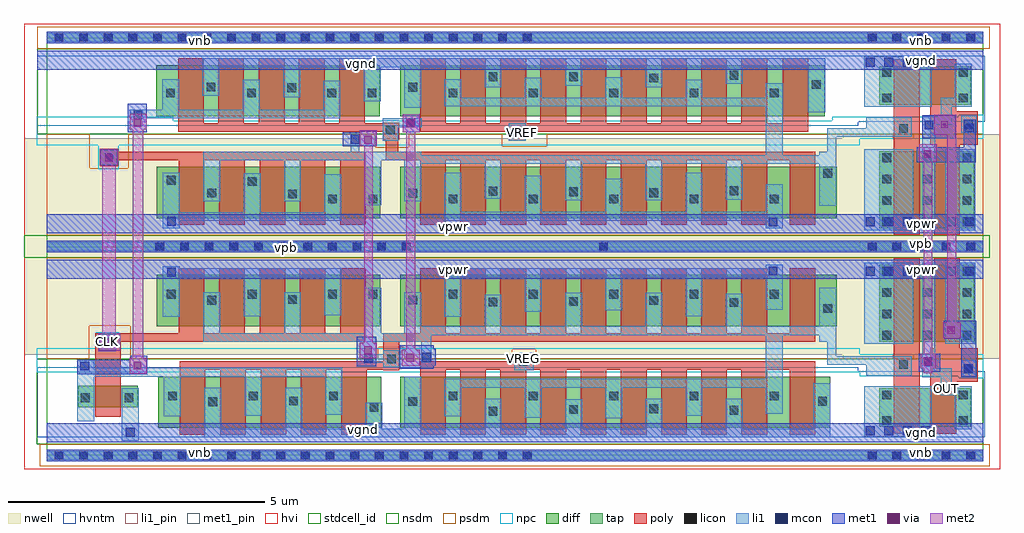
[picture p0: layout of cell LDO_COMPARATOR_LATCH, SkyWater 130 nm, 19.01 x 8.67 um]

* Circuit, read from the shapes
.subckt LDO_COMPARATOR_LATCH CLK OUT VREF VREG vgnd vnb vpb vpwr
XM1 vgnd CLK n1 vnb sky130_fd_pr__nfet_g5v0d10v5 w=0.42 l=0.5
XM2 n2 n3 n1 vnb sky130_fd_pr__nfet_g5v0d10v5 w=1 l=0.5 m=5
XM3 n4 n5 n1 vnb sky130_fd_pr__nfet_g5v0d10v5 w=1 l=0.5 m=5
XM4 n3 VREG n4 vnb sky130_fd_pr__nfet_g5v0d10v5 w=1 l=0.5 m=10
XM5 n5 VREF n2 vnb sky130_fd_pr__nfet_g5v0d10v5 w=1 l=0.5 m=10
XM6 n6 n3 vgnd vnb sky130_fd_pr__nfet_g5v0d10v5 w=0.75 l=0.5
XM7 n7 n5 vgnd vnb sky130_fd_pr__nfet_g5v0d10v5 w=0.75 l=0.5
XM8 OUT n8 n6 vnb sky130_fd_pr__nfet_g5v0d10v5 w=0.75 l=0.5
XM9 n8 OUT n7 vnb sky130_fd_pr__nfet_g5v0d10v5 w=0.75 l=0.5
XM10 n3 CLK vpwr vpb sky130_fd_pr__pfet_g5v0d10v5 w=1 l=0.5 m=5
XM11 n5 CLK vpwr vpb sky130_fd_pr__pfet_g5v0d10v5 w=1 l=0.5 m=5
XM12 vpwr n5 n3 vpb sky130_fd_pr__pfet_g5v0d10v5 w=1 l=0.5 m=10
XM13 vpwr n3 n5 vpb sky130_fd_pr__pfet_g5v0d10v5 w=1 l=0.5 m=10
XM14 OUT n3 vpwr vpb sky130_fd_pr__pfet_g5v0d10v5 w=1.5 l=0.5
XM15 n8 n5 vpwr vpb sky130_fd_pr__pfet_g5v0d10v5 w=1.5 l=0.5
XM16 vpwr n8 OUT vpb sky130_fd_pr__pfet_g5v0d10v5 w=1.5 l=0.5
XM17 vpwr OUT n8 vpb sky130_fd_pr__pfet_g5v0d10v5 w=1.5 l=0.5
.ends

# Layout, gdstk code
import gdstk
lib = gdstk.Library(unit=1e-6, precision=1e-09)
def R(c, l, rs):  # rectangles x0, y0, x1, y1
    for r in rs: c.add(gdstk.rectangle(r[:2], r[2:], *l))
def A(c, l, x, y, w, h, nx, ny, dx, dy):  # array of equal rectangles
    R(c, l, [(x+i*dx, y+j*dy, x+i*dx+w, y+j*dy+h) for i in range(nx) for j in range(ny)])
def P(c, l, *ps):  # polygons
    for p in ps: c.add(gdstk.Polygon(p, *l))
nwell = (64, 20)
diff = (65, 20)
tap = (65, 44)
poly = (66, 20)
licon = (66, 44)
li1_pin = (67, 16)
li1 = (67, 20)
mcon = (67, 44)
met1_pin = (68, 16)
met1 = (68, 20)
via = (68, 44)
met2 = (69, 20)
hvi = (75, 20)
stdcell_id = (81, 4)
nsdm = (93, 44)
psdm = (94, 20)
npc = (95, 20)
hvntm = (125, 20)

ldo_comparator_latch = lib.new_cell('LDO_COMPARATOR_LATCH')
R(ldo_comparator_latch, nwell, [(15.51,1.885,18.57,4.485), (-0.44,1.965,15.51,6.175), (15.51,3.655,18.57,6.255)])
R(ldo_comparator_latch, diff, [(2.17,0.535,6.52,1.535), (6.89,0.535,15.26,1.535), (16.22,0.555,18,1.305), (0.615,0.935,1.78,1.355), (16.22,2.215,18.07,3.715), (2.15,2.515,6.5,3.515), (6.89,2.515,15.39,3.515), (16.22,4.425,18.07,5.925), (2.15,4.62,6.5,5.62), (6.89,4.62,15.39,5.62), (2.135,6.605,6.485,7.605), (6.89,6.605,15.16,7.605), (16.22,6.835,18,7.585)])
A(ldo_comparator_latch, tap, 0, -0.085, 15.84, 0.17, 1, 3, 0, 4.07)
R(ldo_comparator_latch, tap, [(15.84,-0.085,18.24,0.085), (15.84,3.985,18.24,4.155), (15.84,3.985,18.24,4.155), (15.84,8.055,18.24,8.225)])
R(ldo_comparator_latch, poly, [(2.595,0.405,3.095,1.665), (3.38,0.405,3.88,1.665), (4.17,0.405,4.67,1.665), (4.95,0.405,5.45,1.665), (5.735,0.405,6.235,1.665), (7.275,0.405,7.775,1.665), (8.055,0.405,8.555,1.665), (8.84,0.405,9.34,1.665), (9.62,0.405,10.12,1.665), (10.405,0.405,10.905,1.665), (11.185,0.405,11.685,1.665), (11.97,0.405,12.47,1.665), (12.75,0.405,13.25,1.665), (13.535,0.405,14.035,1.665), (14.47,0.405,14.97,1.665), (16.505,0.425,17.005,3.845), (0.945,0.755,1.445,2.385), (6.555,1.655,6.87,2.215), (2.595,1.665,6.87,1.835), (7.275,1.665,14.97,1.835), (9.11,1.755,9.49,2.005), (1.04,2.07,1.36,2.215), (1.06,2.085,1.325,2.325), (1.445,2.215,6.215,2.385), (6.555,2.215,14.97,2.385), (2.575,2.385,3.075,3.645), (3.36,2.385,3.86,3.645), (4.15,2.385,4.65,3.645), (4.93,2.385,5.43,3.645), (5.715,2.385,6.215,3.645), (7.275,2.385,7.775,3.645), (8.055,2.385,8.555,3.645), (8.84,2.385,9.34,3.645), (9.62,2.385,10.12,3.645), (10.405,2.385,10.905,3.645), (11.185,2.385,11.685,3.645), (11.97,2.385,12.47,3.645), (12.75,2.385,13.25,3.645), (13.535,2.385,14.035,3.645), (14.47,2.385,14.97,3.645), (16.505,4.295,17.005,7.715), (2.575,4.49,3.075,5.75), (3.36,4.49,3.86,5.75), (4.15,4.49,4.65,5.75), (4.93,4.49,5.43,5.75), (5.715,4.49,6.215,5.75), (7.275,4.49,7.775,5.75), (8.055,4.49,8.555,5.75), (8.84,4.49,9.34,5.75), (9.62,4.49,10.12,5.75), (10.405,4.49,10.905,5.75), (11.185,4.49,11.685,5.75), (11.97,4.49,12.47,5.75), (12.75,4.49,13.25,5.75), (13.535,4.49,14.035,5.75), (14.47,4.49,14.97,5.75), (1.045,5.635,1.4,5.97), (1.045,5.75,6.215,5.92), (6.605,5.75,14.97,5.92), (6.605,5.92,6.845,6.48), (9.005,6.13,9.335,6.475), (9.035,6.13,9.31,6.405), (6.555,6.15,6.605,6.48), (6.845,6.15,6.865,6.48), (2.56,6.305,6.845,6.475), (7.275,6.305,14.84,6.475), (2.56,6.475,3.06,7.735), (3.345,6.475,3.845,7.735), (4.135,6.475,4.635,7.735), (4.915,6.475,5.415,7.735), (5.7,6.475,6.2,7.735), (7.275,6.475,7.775,7.735), (8.055,6.475,8.555,7.735), (8.84,6.475,9.34,7.735), (9.62,6.475,10.12,7.735), (10.405,6.475,10.905,7.735), (11.185,6.475,11.685,7.735), (11.97,6.475,12.47,7.735), (12.75,6.475,13.25,7.735), (13.535,6.475,14.035,7.735), (14.34,6.475,14.84,7.735)])
P(ldo_comparator_latch, poly, [(18.135,6.055),(17.785,6.055),(17.785,4.295),(17.285,4.295),(17.285,6.055),(17.215,6.055),(17.215,7.715),(17.715,7.715),(17.715,6.705),(18.135,6.705)],
  [(18.135,2.085),(17.785,2.085),(17.785,3.845),(17.285,3.845),(17.285,2.085),(17.215,2.085),(17.215,0.425),(17.715,0.425),(17.715,1.435),(18.135,1.435)])
A(ldo_comparator_latch, licon, 0.155, -0.085, 0.17, 0.17, 20, 2, 0.48, 8.14)
A(ldo_comparator_latch, licon, 15.995, -0.085, 0.17, 0.17, 5, 2, 0.48, 8.14)
A(ldo_comparator_latch, licon, 7.83, 1.075, 0.17, 0.17, 5, 2, 1.565, 1.98)
A(ldo_comparator_latch, licon, 16.28, 2.255, 0.17, 0.17, 3, 2, 0.78, 0.415)
A(ldo_comparator_latch, licon, 16.28, 3.09, 0.17, 0.17, 3, 2, 0.78, 0.415)
A(ldo_comparator_latch, licon, 2.12, 3.985, 0.17, 0.17, 11, 1, 0.48, 0)
A(ldo_comparator_latch, licon, 16.28, 4.465, 0.17, 0.17, 3, 2, 0.78, 0.415)
A(ldo_comparator_latch, licon, 7.83, 4.91, 0.17, 0.17, 5, 2, 1.565, 2.065)
A(ldo_comparator_latch, licon, 16.28, 5.3, 0.17, 0.17, 3, 2, 0.78, 0.415)
R(ldo_comparator_latch, licon, [(16.28,0.595,16.45,0.765), (17.77,0.595,17.94,0.765), (8.61,0.775,8.78,0.945), (13.305,0.795,13.475,0.965), (10.18,0.81,10.35,0.98), (11.74,0.825,11.91,0.995), (6.29,0.855,6.46,1.025), (3.15,0.96,3.32,1.13), (7.045,0.965,7.215,1.135), (15.03,0.97,15.2,1.14), (4.725,0.975,4.895,1.145), (0.67,1.04,0.84,1.21), (1.52,1.04,1.69,1.21), (2.365,1.075,2.535,1.245), (3.94,1.075,4.11,1.245), (5.505,1.075,5.675,1.245), (16.28,1.095,16.45,1.265), (17.77,1.095,17.94,1.265), (17.865,1.605,18.035,1.775), (16.605,1.685,16.775,1.855), (9.205,1.75,9.375,1.92), (6.635,1.795,6.805,1.965), (1.105,2.125,1.275,2.295), (1.105,2.125,1.275,2.295), (15.13,2.78,15.3,2.95), (13.305,2.895,13.475,3.065), (8.61,2.905,8.78,3.075), (10.18,2.915,10.35,3.085), (11.74,2.935,11.91,3.105), (3.13,2.94,3.3,3.11), (7.045,2.945,7.215,3.115), (4.705,2.955,4.875,3.125), (2.345,3.055,2.515,3.225), (3.92,3.055,4.09,3.225), (5.485,3.055,5.655,3.225), (6.27,3.055,6.44,3.225), (10.76,3.985,10.93,4.155), (15.995,3.985,16.165,4.155), (15.995,3.985,16.165,4.155), (16.475,3.985,16.645,4.155), (16.475,3.985,16.645,4.155), (16.955,3.985,17.125,4.155), (16.955,3.985,17.125,4.155), (17.435,3.985,17.605,4.155), (17.435,3.985,17.605,4.155), (17.915,3.985,18.085,4.155), (17.915,3.985,18.085,4.155), (5.485,4.91,5.655,5.08), (6.27,4.91,6.44,5.08), (4.705,5.01,4.875,5.18), (7.045,5.02,7.215,5.19), (3.13,5.025,3.3,5.195), (11.74,5.03,11.91,5.2), (10.18,5.05,10.35,5.22), (8.61,5.06,8.78,5.23), (13.305,5.07,13.475,5.24), (3.92,5.25,4.09,5.42), (2.345,5.275,2.515,5.445), (15.13,5.41,15.3,5.58), (1.13,5.72,1.3,5.89), (9.085,6.235,9.255,6.405), (6.61,6.255,6.78,6.425), (16.605,6.285,16.775,6.455), (17.865,6.365,18.035,6.535), (16.28,6.875,16.45,7.045), (17.77,6.875,17.94,7.045), (2.33,6.975,2.5,7.145), (3.905,6.975,4.075,7.145), (5.47,6.975,5.64,7.145), (6.255,6.975,6.425,7.145), (4.69,7.075,4.86,7.245), (7.045,7.085,7.215,7.255), (3.115,7.09,3.285,7.26), (14.905,7.14,15.075,7.31), (11.74,7.265,11.91,7.435), (8.61,7.29,8.78,7.46), (10.18,7.29,10.35,7.46), (13.305,7.32,13.475,7.49), (16.28,7.375,16.45,7.545), (17.77,7.375,17.94,7.545)])
R(ldo_comparator_latch, li1_pin, [(17.435,1.21,17.605,1.38), (17.44,1.21,17.605,1.38), (9.205,1.75,9.375,1.92), (1.1,2.135,1.275,2.295), (9.085,6.235,9.255,6.405)])
A(ldo_comparator_latch, li1, 0, -0.085, 15.84, 0.17, 1, 3, 0, 4.07)
R(ldo_comparator_latch, li1, [(15.84,-0.085,18.24,0.085), (1.465,0.285,1.795,1.31), (3.07,0.355,3.4,1.32), (3.4,0.355,6.21,0.525), (4.645,0.355,4.975,1.32), (5.755,0.355,6.965,0.525), (6.21,0.355,6.54,1.025), (6.965,0.355,7.295,1.535), (7.295,0.355,15.05,0.525), (8.53,0.355,8.86,1.105), (10.1,0.355,10.43,1.095), (11.66,0.355,11.99,1.105), (13.23,0.355,13.56,1.1), (14.935,0.355,15.265,1.41), (15.93,0.365,17.24,1.345), (0.595,0.665,0.925,1.86), (10.88,0.72,11.21,1.455), (9.315,0.73,9.645,1.49), (2.285,0.765,2.615,1.705), (7.75,0.765,8.08,1.49), (12.445,0.77,12.775,1.49), (3.86,0.775,4.19,1.705), (5.425,0.795,5.755,1.705), (14.01,0.815,14.34,2.345), (8.08,1.32,14.01,1.49), (17.815,1.525,18.115,1.855), (0.595,1.535,5.755,1.705), (15.965,1.55,16.855,1.935), (9.11,1.66,9.49,2.005), (6.555,1.715,6.88,2.045), (15.21,1.765,15.38,2.215), (15.38,1.765,15.965,1.935), (6.185,1.805,6.86,1.975), (7.295,1.82,7.49,2.345), (1.03,2.045,1.36,2.385), (15.93,2.175,16.88,3.755), (17.5,2.175,18.09,3.755), (3.05,2.215,3.38,3.18), (3.38,2.215,6.965,2.385), (4.625,2.215,4.955,3.18), (6.19,2.215,6.52,3.265), (6.965,2.215,7.295,3.18), (15.05,2.215,15.38,3.27), (7.295,2.345,15.05,2.515), (8.53,2.345,8.86,3.135), (10.1,2.345,10.43,3.165), (11.66,2.345,11.99,3.165), (13.23,2.345,13.56,3.15), (2.265,2.705,2.595,3.685), (7.75,2.705,8.08,3.645), (12.445,2.71,12.775,3.645), (3.84,2.715,4.17,3.645), (5.405,2.735,5.735,3.645), (9.315,2.8,9.645,3.645), (10.88,2.825,11.21,3.64), (14.01,2.84,14.34,3.715), (2.595,3.475,5.405,3.645), (8.08,3.475,14.01,3.645), (15.84,3.985,18.24,4.155), (15.84,3.985,18.24,4.155), (15.93,4.385,16.88,5.965), (17.5,4.385,18.09,5.965), (2.265,4.425,2.595,5.51), (14.01,4.425,14.34,5.28), (2.595,4.57,5.405,4.74), (3.84,4.57,4.17,5.5), (5.405,4.57,5.735,5.48), (9.315,4.57,9.645,5.45), (12.445,4.57,12.775,5.505), (7.75,4.575,8.08,5.51), (8.08,4.575,14.01,4.745), (10.88,4.575,11.21,5.39), (15.05,4.865,15.38,5.92), (6.19,4.87,6.52,5.92), (3.05,4.955,3.38,5.92), (4.625,4.955,4.955,5.92), (6.965,4.955,7.295,5.92), (10.1,4.97,10.43,5.85), (11.66,4.97,11.99,5.85), (13.23,4.985,13.56,5.85), (8.53,5,8.86,5.85), (1.035,5.65,1.39,5.975), (7.295,5.68,15.05,5.85), (3.38,5.75,6.965,5.92), (14.01,5.845,14.34,7.245), (5.92,5.92,6.09,6.245), (15.21,5.92,15.38,6.375), (6.545,6.125,6.845,6.495), (9.005,6.13,9.335,6.475), (15.38,6.205,15.965,6.375), (15.965,6.205,16.855,6.59), (17.815,6.285,18.115,6.615), (6.545,6.395,7.31,6.565), (1.615,6.49,1.95,6.565), (1.615,6.565,5.39,6.735), (2.25,6.565,2.58,7.325), (3.825,6.565,4.155,7.315), (5.39,6.565,5.72,7.295), (14.84,6.68,15.17,7.735), (6.965,6.77,7.295,7.735), (15.93,6.795,17.24,7.775), (7.75,6.8,14.34,6.97), (7.75,6.8,8.08,7.325), (9.315,6.8,9.645,7.36), (10.88,6.8,11.21,7.37), (12.445,6.8,12.775,7.32), (6.175,6.895,6.505,7.735), (4.61,6.975,4.94,7.735), (3.035,7.01,3.365,7.735), (8.53,7.17,8.86,7.735), (11.66,7.175,11.99,7.735), (10.1,7.205,10.43,7.735), (13.23,7.24,13.56,7.735), (3.365,7.565,15.05,7.735), (15.84,8.055,18.24,8.225)])
P(ldo_comparator_latch, li1, [(18.02,6.795),(17.635,6.795),(17.635,6.445),(17.31,6.445),(17.31,4.385),(17.06,4.385),(17.06,6.615),(17.42,6.615),(17.42,6.965),(17.69,6.965),(17.69,7.625),(18.02,7.625)],
  [(18.02,1.345),(17.635,1.345),(17.635,1.695),(17.31,1.695),(17.31,3.755),(17.06,3.755),(17.06,1.525),(17.42,1.525),(17.42,1.175),(17.69,1.175),(17.69,0.515),(18.02,0.515)])
A(ldo_comparator_latch, mcon, 15.96, 0.395, 0.17, 0.17, 4, 2, 0.36, 7.18)
A(ldo_comparator_latch, mcon, 15.96, 3.505, 0.17, 0.17, 3, 2, 0.36, 0.96)
R(ldo_comparator_latch, mcon, [(0.155,-0.085,0.325,0.085), (0.155,-0.085,0.325,0.085), (0.635,-0.085,0.805,0.085), (0.635,-0.085,0.805,0.085), (1.115,-0.085,1.285,0.085), (1.115,-0.085,1.285,0.085), (1.595,-0.085,1.765,0.085), (1.595,-0.085,1.765,0.085), (2.075,-0.085,2.245,0.085), (2.075,-0.085,2.245,0.085), (2.555,-0.085,2.725,0.085), (2.555,-0.085,2.725,0.085), (3.035,-0.085,3.205,0.085), (3.035,-0.085,3.205,0.085), (3.515,-0.085,3.685,0.085), (3.515,-0.085,3.685,0.085), (3.995,-0.085,4.165,0.085), (3.995,-0.085,4.165,0.085), (4.475,-0.085,4.645,0.085), (4.475,-0.085,4.645,0.085), (4.955,-0.085,5.125,0.085), (4.955,-0.085,5.125,0.085), (5.435,-0.085,5.605,0.085), (5.435,-0.085,5.605,0.085), (5.915,-0.085,6.085,0.085), (5.915,-0.085,6.085,0.085), (6.395,-0.085,6.565,0.085), (6.395,-0.085,6.565,0.085), (6.875,-0.085,7.045,0.085), (6.875,-0.085,7.045,0.085), (7.355,-0.085,7.525,0.085), (7.355,-0.085,7.525,0.085), (7.835,-0.085,8.005,0.085), (7.835,-0.085,8.005,0.085), (8.315,-0.085,8.485,0.085), (8.315,-0.085,8.485,0.085), (8.795,-0.085,8.965,0.085), (8.795,-0.085,8.965,0.085), (9.275,-0.085,9.445,0.085), (9.275,-0.085,9.445,0.085), (15.995,-0.085,16.165,0.085), (15.995,-0.085,16.165,0.085), (16.475,-0.085,16.645,0.085), (16.475,-0.085,16.645,0.085), (16.955,-0.085,17.125,0.085), (16.955,-0.085,17.125,0.085), (17.435,-0.085,17.605,0.085), (17.435,-0.085,17.605,0.085), (17.915,-0.085,18.085,0.085), (17.915,-0.085,18.085,0.085), (1.545,0.365,1.715,0.535), (17.865,1.605,18.035,1.775), (0.66,1.655,0.83,1.825), (17.085,1.74,17.255,1.91), (6.185,1.805,6.355,1.975), (7.32,1.83,7.49,2), (1.105,2.125,1.275,2.295), (2.35,3.485,2.52,3.655), (17.53,3.505,17.7,3.675), (17.89,3.505,18.06,3.675), (14.065,3.51,14.235,3.68), (2.12,3.985,2.29,4.155), (2.12,3.985,2.29,4.155), (2.6,3.985,2.77,4.155), (2.6,3.985,2.77,4.155), (3.08,3.985,3.25,4.155), (3.08,3.985,3.25,4.155), (3.56,3.985,3.73,4.155), (3.56,3.985,3.73,4.155), (4.04,3.985,4.21,4.155), (4.04,3.985,4.21,4.155), (4.52,3.985,4.69,4.155), (4.52,3.985,4.69,4.155), (5,3.985,5.17,4.155), (5,3.985,5.17,4.155), (5.48,3.985,5.65,4.155), (5.48,3.985,5.65,4.155), (5.96,3.985,6.13,4.155), (5.96,3.985,6.13,4.155), (6.44,3.985,6.61,4.155), (6.44,3.985,6.61,4.155), (6.92,3.985,7.09,4.155), (6.92,3.985,7.09,4.155), (10.76,3.985,10.93,4.155), (10.76,3.985,10.93,4.155), (15.995,3.985,16.165,4.155), (15.995,3.985,16.165,4.155), (15.995,3.985,16.165,4.155), (15.995,3.985,16.165,4.155), (16.475,3.985,16.645,4.155), (16.475,3.985,16.645,4.155), (16.475,3.985,16.645,4.155), (16.475,3.985,16.645,4.155), (16.955,3.985,17.125,4.155), (16.955,3.985,17.125,4.155), (16.955,3.985,17.125,4.155), (16.955,3.985,17.125,4.155), (17.435,3.985,17.605,4.155), (17.435,3.985,17.605,4.155), (17.435,3.985,17.605,4.155), (17.435,3.985,17.605,4.155), (17.915,3.985,18.085,4.155), (17.915,3.985,18.085,4.155), (17.915,3.985,18.085,4.155), (17.915,3.985,18.085,4.155), (14.065,4.46,14.235,4.63), (17.53,4.465,17.7,4.635), (17.89,4.465,18.06,4.635), (2.35,4.475,2.52,4.645), (1.13,5.72,1.3,5.89), (5.92,6.075,6.09,6.245), (17.895,6.295,18.065,6.465), (17.1,6.35,17.27,6.52), (7.01,6.395,7.18,6.565), (1.695,6.545,1.865,6.715), (0.155,8.055,0.325,8.225), (0.155,8.055,0.325,8.225), (0.635,8.055,0.805,8.225), (0.635,8.055,0.805,8.225), (1.115,8.055,1.285,8.225), (1.115,8.055,1.285,8.225), (1.595,8.055,1.765,8.225), (1.595,8.055,1.765,8.225), (2.075,8.055,2.245,8.225), (2.075,8.055,2.245,8.225), (2.555,8.055,2.725,8.225), (2.555,8.055,2.725,8.225), (3.035,8.055,3.205,8.225), (3.035,8.055,3.205,8.225), (3.515,8.055,3.685,8.225), (3.515,8.055,3.685,8.225), (3.995,8.055,4.165,8.225), (3.995,8.055,4.165,8.225), (4.475,8.055,4.645,8.225), (4.475,8.055,4.645,8.225), (4.955,8.055,5.125,8.225), (4.955,8.055,5.125,8.225), (5.435,8.055,5.605,8.225), (5.435,8.055,5.605,8.225), (5.915,8.055,6.085,8.225), (5.915,8.055,6.085,8.225), (6.395,8.055,6.565,8.225), (6.395,8.055,6.565,8.225), (6.875,8.055,7.045,8.225), (6.875,8.055,7.045,8.225), (7.355,8.055,7.525,8.225), (7.355,8.055,7.525,8.225), (7.835,8.055,8.005,8.225), (7.835,8.055,8.005,8.225), (8.315,8.055,8.485,8.225), (8.315,8.055,8.485,8.225), (8.795,8.055,8.965,8.225), (8.795,8.055,8.965,8.225), (9.275,8.055,9.445,8.225), (9.275,8.055,9.445,8.225), (15.995,8.055,16.165,8.225), (15.995,8.055,16.165,8.225), (16.475,8.055,16.645,8.225), (16.475,8.055,16.645,8.225), (16.955,8.055,17.125,8.225), (16.955,8.055,17.125,8.225), (17.435,8.055,17.605,8.225), (17.435,8.055,17.605,8.225), (17.915,8.055,18.085,8.225), (17.915,8.055,18.085,8.225)])
R(ldo_comparator_latch, met1_pin, [(0,0,15.84,0.115), (15.84,0,18.24,0.115), (0,0.255,15.84,0.625), (15.84,0.255,18.24,0.625), (0,3.445,15.84,3.815), (15.84,3.445,18.24,3.815), (0,3.955,15.84,4.07), (15.84,3.955,18.24,4.07), (15.84,4.07,18.24,4.185), (0,4.325,15.835,4.695), (15.84,4.325,18.24,4.695), (-0.185,7.515,15.84,7.885), (15.84,7.515,18.24,7.885), (0,8.025,15.84,8.14), (15.84,8.025,18.24,8.14)])
A(ldo_comparator_latch, met1, 0, -0.115, 15.84, 0.23, 1, 3, 0, 4.07)
R(ldo_comparator_latch, met1, [(15.84,-0.115,18.24,0.115), (0,0.255,15.84,0.625), (15.84,0.255,18.24,0.625), (17.815,1.535,18.11,2.365), (0.595,1.58,1.96,1.86), (16.985,1.635,17.41,1.985), (6.875,1.685,7.54,2.145), (6.04,1.74,6.425,2.31), (7.265,1.745,7.575,2.08), (1.64,1.86,1.96,1.945), (1.01,2.03,1.35,2.36), (17.475,2.27,18.11,2.62), (0,3.445,15.84,3.815), (15.84,3.445,18.24,3.815), (15.84,3.955,18.24,4.185), (15.84,3.955,18.24,4.185), (0,4.325,15.84,4.695), (15.84,4.325,18.24,4.695), (1.045,5.65,1.365,5.955), (16.95,5.715,18.1,6.005), (17.865,5.965,18.1,6.535), (6.115,6.02,6.42,6.32), (5.765,6.025,6.355,6.3), (17.055,6.175,17.695,6.625), (17.11,6.285,17.395,6.615), (1.58,6.3,1.95,6.85), (6.935,6.3,7.27,6.65), (-0.185,7.515,15.84,7.885), (15.84,7.515,18.24,7.885), (15.84,8.025,18.24,8.255)])
R(ldo_comparator_latch, via, [(1.695,1.675,1.845,1.825), (17.085,1.755,17.235,1.905), (7.01,1.83,7.16,1.98), (6.185,1.975,6.335,2.125), (1.105,2.12,1.255,2.27), (17.545,2.365,17.695,2.515), (1.13,5.72,1.28,5.87), (17.085,5.795,17.235,5.945), (6.185,6.075,6.335,6.225), (17.415,6.37,17.565,6.52), (7.01,6.395,7.16,6.545), (1.695,6.405,1.845,6.555)])
R(ldo_comparator_latch, met2, [(1.615,1.59,1.95,1.9), (17.085,1.605,17.255,6.015), (1.68,1.655,1.88,6.44), (17.03,1.7,17.315,1.98), (6.92,1.745,7.265,2.055), (7.01,1.82,7.18,6.415), (6.1,1.89,6.435,2.2), (6.185,1.975,6.355,6.245), (1.005,2.035,1.085,2.385), (1.085,2.035,1.35,5.9), (1.35,2.035,1.43,2.385), (17.46,2.28,17.805,2.59), (17.545,2.31,17.715,6.53), (1.035,5.65,1.39,5.975), (17,5.725,17.34,6.06), (6.1,6.02,6.435,6.33), (17.285,6.25,17.715,6.64), (6.935,6.3,7.27,6.65), (1.615,6.35,1.95,6.66)])
R(ldo_comparator_latch, hvi, [(-0.44,-0.265,15.51,8.405), (15.51,-0.265,18.57,4.485), (15.51,3.655,18.57,8.405)])
R(ldo_comparator_latch, stdcell_id, [(0,0,15.84,8.14), (15.84,0,18.24,4.07), (15.84,4.07,18.24,8.14)])
R(ldo_comparator_latch, nsdm, [(-0.19,0.215,15.84,1.885), (15.84,0.215,18.24,1.885), (-0.44,3.855,15.71,4.285), (15.71,3.855,18.37,4.285), (15.71,3.855,18.37,4.285), (15.84,3.855,18.24,4.07), (15.84,4.07,18.24,4.285), (-0.185,6.255,15.84,7.925), (15.84,6.255,18.24,7.925)])
R(ldo_comparator_latch, psdm, [(-0.13,-0.215,15.715,0.215), (15.71,-0.215,18.37,0.215), (-0.185,7.925,15.715,8.355), (15.71,7.925,18.37,8.355)])
P(ldo_comparator_latch, psdm, [(18.24,4.285),(15.84,4.285),(15.84,6.255),(16.495,6.255),(16.495,6.175),(16.885,6.175),(16.885,6.255),(18.24,6.255)],
  [(18.24,3.855),(15.84,3.855),(15.84,1.885),(16.495,1.885),(16.495,1.965),(16.885,1.965),(16.885,1.885),(18.24,1.885)],
  [(15.84,3.855),(0,3.855),(0,1.885),(0.83,1.885),(0.83,2.525),(1.63,2.525),(1.63,1.885),(6.46,1.885),(6.46,2.11),(6.97,2.11),(6.97,1.885),(9.07,1.885),(9.07,2.07),(9.53,2.07),(9.53,1.885),(15.84,1.885)],
  [(15.84,6.26),(9.745,6.26),(9.745,6.02),(8.875,6.02),(8.875,6.26),(7.055,6.26),(7.055,6.005),(6.4,6.005),(6.4,6.26),(1.59,6.26),(1.59,5.59),(0.845,5.59),(0.845,6.26),(0,6.26),(0,4.285),(15.84,4.285)])
R(ldo_comparator_latch, npc, [(-0.19,1.625,15.84,2.09), (0.96,2.09,1.42,2.395), (1.01,5.57,1.41,6.045)])
P(ldo_comparator_latch, npc, [(15.84,6.595),(15.3,6.595),(15.3,6.515),(6.855,6.515),(6.855,6.525),(6.53,6.525),(6.53,6.515),(2.47,6.515),(2.47,6.595),(-0.19,6.595),(-0.19,6.045),(15.84,6.045)],
  [(18.24,6.17),(15.84,6.17),(15.84,6.595),(17.765,6.595),(17.765,6.635),(18.24,6.635)],
  [(18.24,1.97),(15.84,1.97),(15.84,1.545),(17.765,1.545),(17.765,1.505),(18.24,1.505)])
R(ldo_comparator_latch, hvntm, [(-0.185,0.35,15.805,1.72), (15.805,0.35,18.275,1.64), (-0.185,6.42,15.805,7.79), (15.805,6.5,18.275,7.79)])
ldo_comparator_latch.add(gdstk.Label('vnb', (2.99,8.082), layer=68, texttype=5))
ldo_comparator_latch.add(gdstk.Label('vnb', (2.99,0.058), layer=68, texttype=5))
ldo_comparator_latch.add(gdstk.Label('vgnd', (6.13,7.635), layer=68, texttype=5))
ldo_comparator_latch.add(gdstk.Label('vpwr', (7.93,4.46), layer=68, texttype=5))
ldo_comparator_latch.add(gdstk.Label('vpb', (4.665,4.05), layer=68, texttype=5))
ldo_comparator_latch.add(gdstk.Label('vpwr', (7.93,3.63), layer=68, texttype=5))
ldo_comparator_latch.add(gdstk.Label('vgnd', (6.165,0.51), layer=68, texttype=5))
ldo_comparator_latch.add(gdstk.Label('vpwr', (17.04,4.51), layer=68, texttype=5))
ldo_comparator_latch.add(gdstk.Label('vgnd', (17.04,0.44), layer=68, texttype=5))
ldo_comparator_latch.add(gdstk.Label('vpwr', (17.04,3.63), layer=68, texttype=5))
ldo_comparator_latch.add(gdstk.Label('vpb', (17.04,4.127), layer=68, texttype=5))
ldo_comparator_latch.add(gdstk.Label('vpb', (17.04,4.013), layer=68, texttype=5))
ldo_comparator_latch.add(gdstk.Label('vnb', (17.04,8.082), layer=68, texttype=5))
ldo_comparator_latch.add(gdstk.Label('vgnd', (17.04,7.7), layer=68, texttype=5))
ldo_comparator_latch.add(gdstk.Label('vnb', (17.04,0.058), layer=68, texttype=5))
ldo_comparator_latch.add(gdstk.Label('VREF', (9.265,6.295), layer=67, texttype=5))
ldo_comparator_latch.add(gdstk.Label('VREG', (9.285,1.88), layer=67, texttype=5))
ldo_comparator_latch.add(gdstk.Label('CLK', (1.195,2.215), layer=67, texttype=5))
ldo_comparator_latch.add(gdstk.Label('OUT', (17.52,1.295), layer=67, texttype=5))
ldo_comparator_latch.add(gdstk.Label('scs8hvl_nand2_1', (15.84,0), layer=83, texttype=44))
ldo_comparator_latch.add(gdstk.Label('scs8hvl_nand2_1', (15.84,8.14), layer=83, texttype=44))

lib.write_gds('LDO_COMPARATOR_LATCH.gds')
